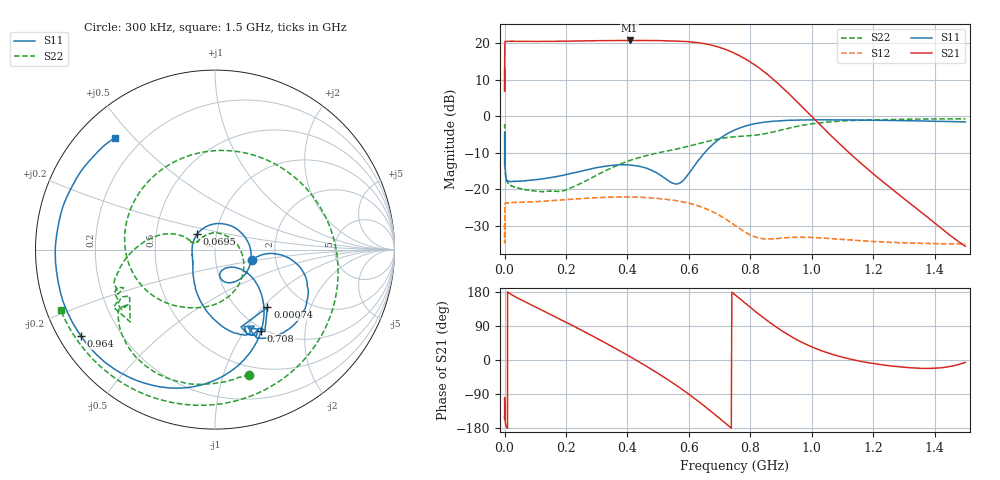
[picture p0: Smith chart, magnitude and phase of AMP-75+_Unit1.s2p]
!Mini-Circuits Lab.;
!S-parameters;
!Model: AMP-75+;  Unit 1;
!Run: MN99030;  Lot: N/A;  Date Code: 1032; Vcc=15V; Icc=26.65mA;
!Fixture: 90-0-16-01;  S/N:72896;  Cal.Due: 12/17/2011;
!Connection: Port 1 to Pin 2; Port 2 to Pin 4; Pin 1 - DC Supply; Pin 3 - grounded; Port extension done on both ports.
!Tested with PNA-L Network Analyzer N5230A, S/N: 67766; Cal.Due: 09/22/2012.
# MHZ S DB R 50
!Frequency  S11 dB  S11 DEG  S21 dB  S21 DEG  S12 dB  S12 DEG  S22 dB  S22 DEG
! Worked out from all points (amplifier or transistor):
!   1241 points, 300 kHz to 1.5 GHz, reference 50 ohm
!   highest |S21| = 20.8 dB at 407 MHz (marker M1)
!   |S21| within 3 dB of that: 806.7 kHz to 735.5 MHz (734.7 MHz wide, 200 % of centre)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
!   unconditionally stable (mu >= 1): start of sweep to 201.1 MHz; 958.4 MHz to end of sweep
!   at 33 MHz: K = 1.06, MAG = 20.6 dB, |S12| = -23.6 dB
!   at 380 MHz: K = 0.92, MSG = 21.4 dB, |S12| = -22.1 dB
!   at 1.5 GHz: K = 74.53, MAG = -22.0 dB, |S12| = -35.0 dB
!   S11 on the Smith chart (normalised r, x): 300 kHz: 1.50, -0.18; 740 kHz: 1.34, -1.06; 69.5 MHz: 0.81, +0.14; 708 MHz: 0.96, -1.20; 964 MHz: 0.06, -0.29; 1.5 GHz: 0.11, +0.44
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0.3  -13.42 -15.7  12.98 -149.4  -29.95 40.8  -2.83 -74.6
0.41  -6.35 -11.5  7.13 -140.9  -32.54 29.0  -2.48 -94.0
0.52  -4.43 -33.4  11.68 -99.2  -34.42 53.3  -2.38 -116.8
0.74  -7.24 -47.7  15.39 -125.6  -30.19 46.6  -4.14 -139.5
1  -7.55 -86.2  19.61 -135.4  -25.36 48.1  -6.91 180.0
1.7  -11.90 -114.3  20.44 -156.4  -24.02 26.2  -12.21 159.1
3.8  -16.29 -144.2  20.51 -171.5  -23.80 10.6  -16.62 159.9
69.5  -17.65 139.3  20.52 152.5  -23.50 -9.0  -20.11 138.2
165  -16.58 77.9  20.54 113.9  -23.05 -24.6  -20.51 79.0
251  -15.03 27.5  20.63 78.5  -22.54 -41.3  -18.26 18.3
324  -13.75 -11.8  20.72 47.0  -22.21 -57.9  -15.14 -24.1
407  -13.35 -50.1  20.77 9.5  -22.13 -79.3  -12.14 -61.4
502  -15.86 -79.1  20.73 -36.5  -22.53 -106.5  -9.98 -96.1
606  -14.99 -37.2  20.38 -93.8  -23.93 -140.4  -8.04 -130.1
664  -8.83 -44.1  19.67 -130.2  -25.62 -160.1  -6.80 -154.8
708  -5.68 -60.4  18.65 -159.4  -27.56 -173.2  -6.03 179.8
752  -3.65 -78.5  17.13 170.8  -30.01 178.0  -5.60 147.9
826  -1.87 -107.0  13.39 122.0  -33.33 -179.4  -5.08 81.1
964  -1.03 -147.3  2.95 48.2  -33.13 174.7  -2.57 -31.1
1002  -0.99 -155.8  -0.27 34.0  -33.21 168.3  -2.05 -51.3
1252  -1.13 162.0  -19.33 -15.1  -34.41 127.5  -0.87 -124.5
1500  -1.55 131.8  -35.59 -6.2  -34.97 91.7  -0.69 -158.5
